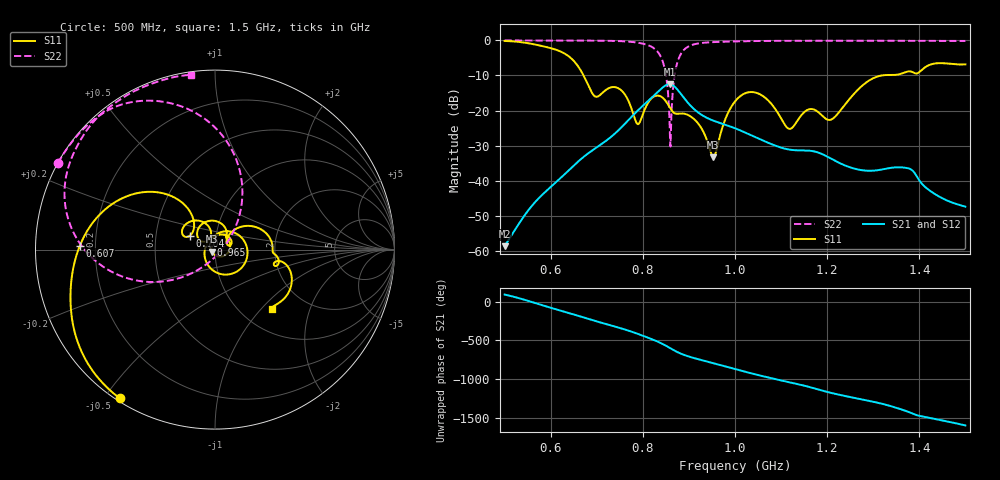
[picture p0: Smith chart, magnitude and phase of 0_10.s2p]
! TOUCHSTONE file generated by CST MICROWAVE STUDIO
! Date and time: Mon Sep 28 14:07:26 2020
! Project name: Scenario_1_Free_SPace.cst
! Parameters = {dx1=329.1; L_HA=400; MT=2.54; Rad_Dielectric=30; Rad_Lower=7.3; Rad_Upper=30; a_HA=580; a_WG=246; b_HA=500; b_WG=121; c_HA=0; c_WG=187; d_feed=85; h_feed=15; h_lower=18; h_upper=40}
! Header version: 2018
! Port assignment regex: !\s*Touchstone port\s*([0-9]+)\s*=\s*(CST MWS port|CST DS port)\s*([0-9]+|Zmin|Zmax)\s*\(\"(.*)\"\)(\s*mode\s*([0-9]+))?.*
! Touchstone port assignment:
! Touchstone port 1 = CST MWS port 1 ("")
! Touchstone port 2 = CST MWS port 2 ("")
# GHz S DB R 50
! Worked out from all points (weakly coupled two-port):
!   1003 points, 500 MHz to 1.5 GHz, reference 50 ohm
!   highest |S21| = -12.51 dB at 858 MHz (marker M1); lowest = -58.7 dB at 500 MHz (marker M2)
!   lowest |S11| = -33.4 dB at 953 MHz (marker M3), VSWR 1.04, Z = 48.2 - j1.03 ohm
!   |S11| at or under -10 dB: 671.3 MHz to 1.318 GHz (646.9 MHz wide, 65 % of centre)
!   |S22| runs from -30.3 to 0.0 dB; largest |S21 - S12| = 4.9e-06
!   S11 on the Smith chart (normalised r, x): 500 MHz: 0.01, -0.55; 607 MHz: 0.14, +0.01; 704 MHz: 0.74, +0.12; 965 MHz: 0.95, +0.05; 1.5 GHz: 1.37, -1.14
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0.5  -0.14 -122.7  -58.70 90.0  -58.70 90.0  -0.01 151.2
0.607  -2.46 178.4  -41.00 -92.0  -41.00 -92.0  -0.02 143.6
0.667  -8.96 127.1  -33.71 163.8  -33.71 163.8  -0.04 138.3
0.704  -15.89 151.5  -30.15 97.2  -30.15 97.2  -0.07 134.3
0.75  -13.90 127.3  -25.26 19.8  -25.26 19.8  -0.20 127.1
0.79  -23.88 129.4  -19.88 -58.3  -19.88 -58.3  -0.66 116.6
0.834  -15.76 98.7  -14.49 -160.9  -14.49 -160.9  -3.56 88.6
0.848  -17.03 69.5  -12.95 158.2  -12.95 158.2  -8.36 66.6
0.858  -19.05 54.0  -12.51 124.7  -12.51 124.7  -23.38 25.9
0.863  -20.05 50.1  -12.66 107.4  -12.66 107.4  -18.37 -125.7
0.871  -20.87 46.7  -13.43 81.1  -13.43 81.1  -8.40 -151.6
0.884  -20.84 34.1  -15.51 45.1  -15.51 45.1  -3.54 -174.3
0.921  -23.86 -29.9  -20.66 -23.9  -20.66 -23.9  -0.85 157.4
0.953  -33.36 -150.1  -22.89 -73.2  -22.89 -73.2  -0.47 147.8
0.965  -28.45 133.4  -23.46 -91.9  -23.46 -91.9  -0.41 145.4
1  -17.42 47.9  -25.06 -148.7  -25.06 -148.7  -0.28 140.1
1.054  -15.35 -47.3  -28.21 127.9  -28.21 127.9  -0.16 134.0
1.118  -25.24 161.3  -31.15 41.8  -31.15 41.8  -0.11 128.1
1.167  -19.58 32.7  -31.54 -29.6  -31.54 -29.6  -0.11 124.2
1.209  -22.56 30.1  -33.77 -97.0  -33.77 -97.0  -0.09 121.0
1.334  -9.86 1.3  -36.44 100.2  -36.44 100.2  -0.09 111.4
1.5  -6.83 -46.3  -47.43 -155.6  -47.43 -155.6  -0.15 97.8
